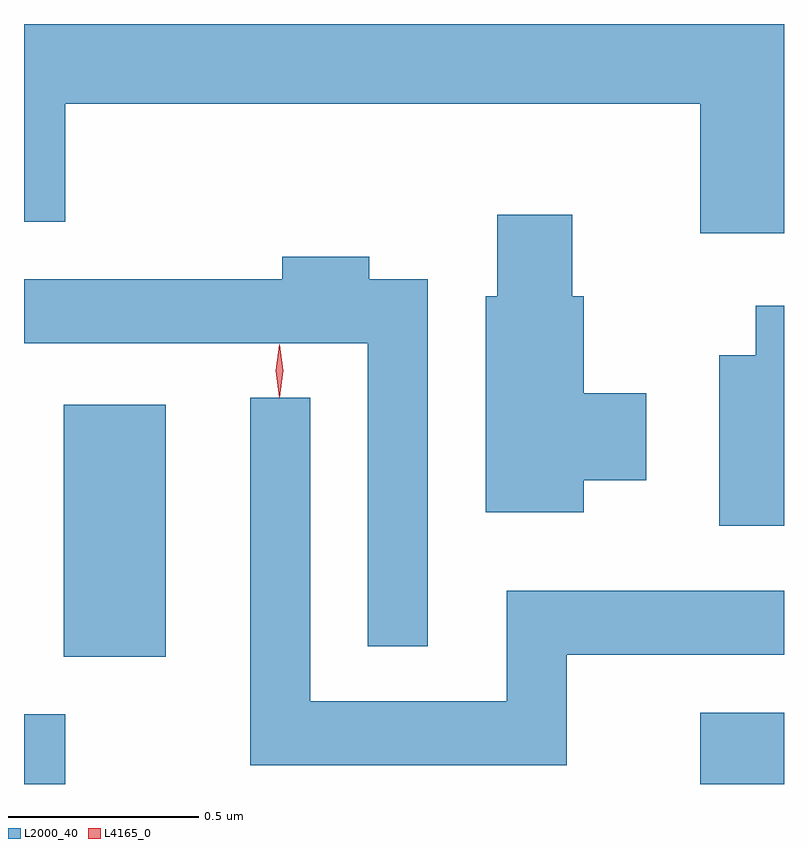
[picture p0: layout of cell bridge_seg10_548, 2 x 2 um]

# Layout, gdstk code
import gdstk
lib = gdstk.Library(unit=1e-6, precision=1e-09)
def R(c, l, rs):  # rectangles x0, y0, x1, y1
    for r in rs: c.add(gdstk.rectangle(r[:2], r[2:], *l))
def P(c, l, *ps):  # polygons
    for p in ps: c.add(gdstk.Polygon(p, *l))
L2000_40 = (2000, 40)
L4165_0 = (4165, 0)

bridge_seg10_548 = lib.new_cell('bridge_seg10_548')
R(bridge_seg10_548, L2000_40, [(763.501,2149.866,763.609,2150.049), (765.281,2149.866,765.501,2150.054), (763.606,2150.201,763.874,2150.864)])
P(bridge_seg10_548, L2000_40, [(765.501,2151.866),(763.501,2151.866),(763.501,2151.346),(763.609,2151.346),(763.609,2151.656),(765.281,2151.656),(765.281,2151.316),(765.501,2151.316)],
  [(764.974,2150.666),(765.139,2150.666),(765.139,2150.894),(764.974,2150.894),(764.974,2151.149),(764.944,2151.149),(764.944,2151.364),(764.746,2151.364),(764.746,2151.149),(764.716,2151.149),(764.716,2150.581),(764.974,2150.581)],
  [(764.564,2151.194),(764.409,2151.194),(764.409,2151.254),(764.181,2151.254),(764.181,2151.194),(763.501,2151.194),(763.501,2151.026),(764.406,2151.026),(764.406,2150.228),(764.564,2150.228)],
  [(765.501,2151.124),(765.426,2151.124),(765.426,2150.994),(765.331,2150.994),(765.331,2150.546),(765.501,2150.546)],
  [(764.929,2150.206),(765.501,2150.206),(765.501,2150.374),(764.771,2150.374),(764.771,2150.084),(764.254,2150.084),(764.254,2150.883),(764.096,2150.883),(764.096,2149.916),(764.929,2149.916)])
P(bridge_seg10_548, L4165_0, [(764.173,2150.883),(764.173,2150.884),(764.163,2150.953),(764.173,2151.022),(764.173,2151.023),(764.174,2151.022),(764.183,2150.953),(764.174,2150.884)])

lib.write_gds('bridge_seg10_548.gds')
